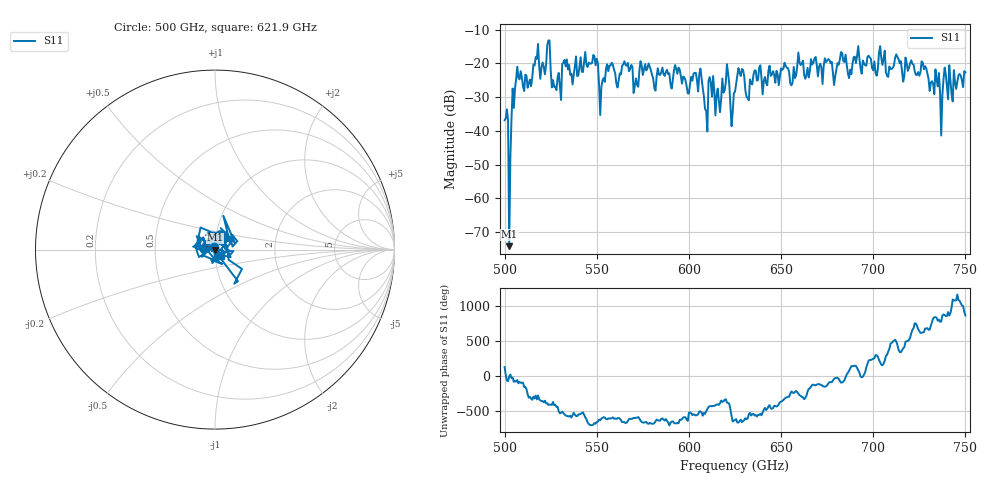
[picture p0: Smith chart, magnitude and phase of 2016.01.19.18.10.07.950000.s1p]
!Created with skrf (http://scikit-rf.org).
# GHz S RI R 50.0
!freq ReS11 ImS11
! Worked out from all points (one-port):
!   401 points, 500 GHz to 750 GHz, reference 50 ohm
!   lowest |S11| = -74.2 dB at 502.5 GHz (marker M1), VSWR 1.00, Z = 50 - j0.0041 ohm
!   |S11| at or under -10 dB: start of sweep to end of sweep
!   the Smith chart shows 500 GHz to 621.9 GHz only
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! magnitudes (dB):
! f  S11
! 500 GHz  -36.8
! 502.5 GHz  -74.2
! 503.8 GHz  -36.2
! 505.6 GHz  -27.6
! 507.5 GHz  -24.3
! 513.8 GHz  -24.8
! 523.8 GHz  -13.2
! 526.9 GHz  -26.9
! 531.2 GHz  -20.2
! 548.8 GHz  -18.0
! 562.5 GHz  -23.0
! 593.8 GHz  -23.1
! 606.9 GHz  -24.4
! 608.8 GHz  -33.5
! 611.9 GHz  -25.7
! 615.6 GHz  -27.5
! 620.6 GHz  -20.2
! 623.1 GHz  -38.6
! 625 GHz  -28.5
! 628.1 GHz  -23.8
! 631.9 GHz  -30.3
! 637.5 GHz  -24.9
! 656.2 GHz  -25.6
! 660.6 GHz  -20.5
! 687.5 GHz  -21.9
! 718.8 GHz  -22.2
! 736.2 GHz  -28.7
! 750 GHz  -22.7
